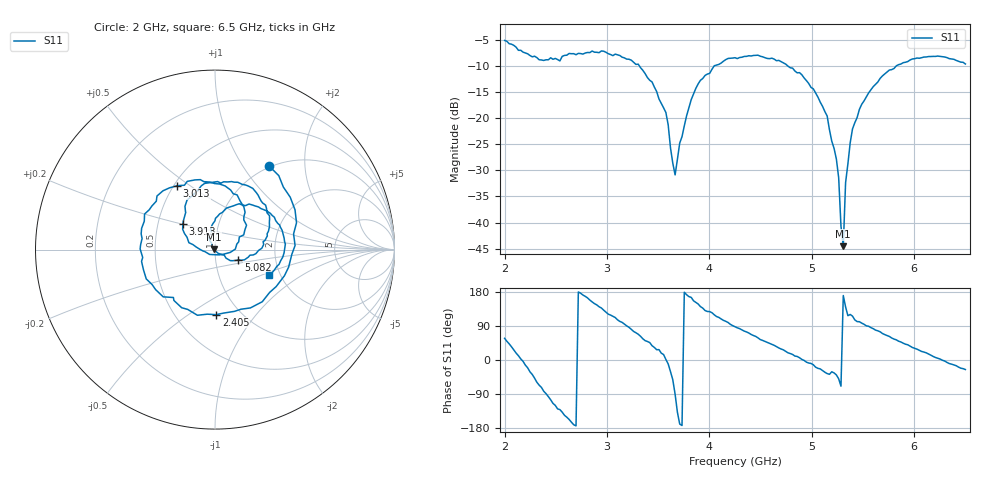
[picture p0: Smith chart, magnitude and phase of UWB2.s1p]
!Keysight Technologies N9914A: A.09.19
!Date: Saturday, 20 October 2018 03:03:09
!TimeZone: (UTC+08:00) Kuala Lumpur, Singapore!Model: N9914A
!Serial: MY56072001
!GPS Latitude:
!GPS Longitude:
!GPS TimeStamp: 0001-01-01 00:00:00Z
!GPS Seconds Since Last Read: 0
!CHECKSUM:0679652002
!Correction: S11(ON U)
!S1P File: Measurement: S11:
# Hz S DB R 50
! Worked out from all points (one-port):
!   201 points, 2 GHz to 6.5 GHz, reference 50 ohm
!   lowest |S11| = -44.5 dB at 5.308 GHz (marker M1), VSWR 1.01, Z = 49.4 + j0.101 ohm
!   |S11| at or under -10 dB: 3.316 GHz to 4.046 GHz (730 MHz wide, 19.8 % of centre); 4.765 GHz to 5.824 GHz (1.059 GHz wide, 20 % of centre)
!   S11 on the Smith chart (normalised r, x): 2 GHz: 0.98, +1.32; 2.405 GHz: 0.78, -0.65; 3.013 GHz: 0.52, +0.44; 3.913 GHz: 0.67, +0.21; 5.082 GHz: 1.29, -0.15; 6.5 GHz: 1.74, -0.55
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2e9  -5.12 57.2
2.1575e9  -7.00 3.0
2.2925e9  -8.13 -47.8
2.405e9  -8.82 -88.9
2.5625e9  -8.16 -137.6
2.81e9  -7.42 163.8
3.0125e9  -7.66 120.9
3.125e9  -8.00 101.9
3.44e9  -13.07 37.7
3.575e9  -18.91 1.4
3.665e9  -30.87 -90.1
3.6875e9  -27.91 -137.8
3.8225e9  -16.45 165.2
3.9125e9  -12.75 140.9
4.25e9  -8.42 87.8
4.8125e9  -10.42 14.6
5.0825e9  -16.94 -23.5
5.15e9  -19.58 -35.8
5.24e9  -27.83 -39.3
5.2625e9  -31.41 -49.6
5.285e9  -40.70 -69.1
5.3075e9  -44.52 170.1
5.33e9  -32.34 140.1
5.375e9  -24.72 120.1
5.555e9  -15.16 89.1
5.9375e9  -9.16 40.2
6.23e9  -8.11 4.5
6.5e9  -9.62 -25.1
